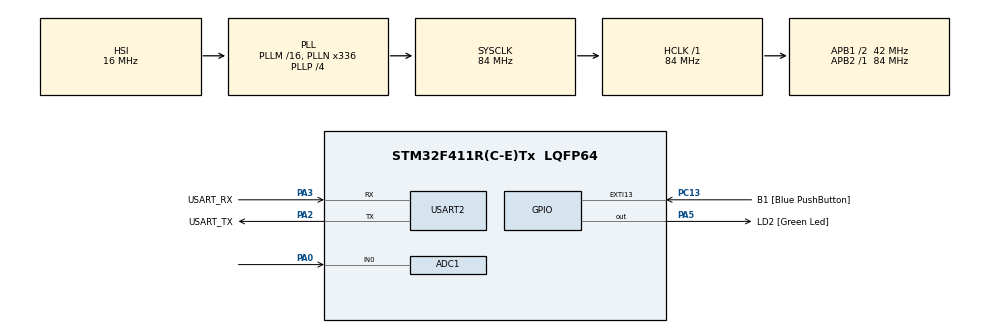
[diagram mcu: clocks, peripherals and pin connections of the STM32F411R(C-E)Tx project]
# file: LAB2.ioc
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ADC1.Channel-0\#ChannelRegularConversion=ADC_CHANNEL_0
ADC1.Channel-1\#ChannelRegularConversion=ADC_CHANNEL_TEMPSENSOR
ADC1.ContinuousConvMode=ENABLE
ADC1.DMAContinuousRequests=ENABLE
ADC1.NbrOfConversion=2
ADC1.NbrOfConversionFlag=1
ADC1.Rank-0\#ChannelRegularConversion=1
ADC1.Rank-1\#ChannelRegularConversion=2
ADC1.SamplingTime-0\#ChannelRegularConversion=ADC_SAMPLETIME_56CYCLES
ADC1.SamplingTime-1\#ChannelRegularConversion=ADC_SAMPLETIME_56CYCLES
ADC1.master=1
Dma.ADC1.0.Direction=DMA_PERIPH_TO_MEMORY
Dma.ADC1.0.FIFOMode=DMA_FIFOMODE_DISABLE
Dma.ADC1.0.Instance=DMA2_Stream0
Dma.ADC1.0.MemDataAlignment=DMA_MDATAALIGN_HALFWORD
Dma.ADC1.0.MemInc=DMA_MINC_ENABLE
Dma.ADC1.0.Mode=DMA_CIRCULAR
Dma.ADC1.0.PeriphDataAlignment=DMA_PDATAALIGN_HALFWORD
Dma.ADC1.0.PeriphInc=DMA_PINC_DISABLE
Dma.ADC1.0.Priority=DMA_PRIORITY_LOW
Dma.Request0=ADC1
Mcu.Family=STM32F4
Mcu.Name=STM32F411R(C-E)Tx
Mcu.Package=LQFP64
NVIC.ADC_IRQn=true\:0\:0\:false\:false\:true\:true\:true\:true
NVIC.DMA2_Stream0_IRQn=true\:0\:0\:false\:false\:true\:false\:true\:true
NVIC.PriorityGroup=NVIC_PRIORITYGROUP_0
PA0-WKUP.Signal=ADCx_IN0
PA13.GPIO_Label=TMS
PA13.Mode=Serial_Wire
PA13.Signal=SYS_JTMS-SWDIO
PA14.GPIO_Label=TCK
PA14.Mode=Serial_Wire
PA14.Signal=SYS_JTCK-SWCLK
PA2.GPIO_Label=USART_TX
PA2.Mode=Asynchronous
PA2.Signal=USART2_TX
PA3.GPIO_Label=USART_RX
PA3.Mode=Asynchronous
PA3.Signal=USART2_RX
PA5.GPIO_Label=LD2 [Green Led]
PA5.Signal=GPIO_Output
PB3.GPIO_Label=SWO
PB3.Signal=SYS_JTDO-SWO
PC13-ANTI_TAMP.GPIO_Label=B1 [Blue PushButton]
PC13-ANTI_TAMP.GPIO_ModeDefaultEXTI=GPIO_MODE_IT_FALLING
PC13-ANTI_TAMP.Signal=GPXTI13
PC14-OSC32_IN.Mode=LSE-External-Oscillator
PC14-OSC32_IN.Signal=RCC_OSC32_IN
PC15-OSC32_OUT.Mode=LSE-External-Oscillator
PC15-OSC32_OUT.Signal=RCC_OSC32_OUT
PH0\ -\ OSC_IN.Mode=HSE-External-Clock-Source
PH0\ -\ OSC_IN.Signal=RCC_OSC_IN
PH1\ -\ OSC_OUT.Mode=HSE-External-Clock-Source
PH1\ -\ OSC_OUT.Signal=RCC_OSC_OUT
ProjectManager.HeapSize=0x200
ProjectManager.StackSize=0x400
ProjectManager.TargetToolchain=STM32CubeIDE
RCC.48MHZClocksFreq_Value=84000000
RCC.AHBFreq_Value=84000000
RCC.APB1CLKDivider=RCC_HCLK_DIV2
RCC.APB1Freq_Value=42000000
RCC.APB1TimFreq_Value=84000000
RCC.APB2Freq_Value=84000000
RCC.APB2TimFreq_Value=84000000
RCC.CortexFreq_Value=84000000
RCC.FLatency-AdvancedSettings=FLASH_LATENCY_2
RCC.HCLKFreq_Value=84000000
RCC.HSE_VALUE=8000000
RCC.HSI_VALUE=16000000
RCC.PLLN=336
RCC.PLLP=RCC_PLLP_DIV4
RCC.SYSCLKFreq_VALUE=84000000
RCC.SYSCLKSource=RCC_SYSCLKSOURCE_PLLCLK
RCC.VCOOutputFreq_Value=336000000
SH.ADCx_IN0.0=ADC1_IN0,IN0
USART2.VirtualMode=VM_ASYNC
VP_ADC1_TempSens_Input.Mode=IN-TempSens
board=NUCLEO-F411RE

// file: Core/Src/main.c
/* USER CODE BEGIN Header */
/**
  ******************************************************************************
  * @file           : main.c
  * @brief          : Main program body
  ******************************************************************************
  * @attention
  *
  * Copyright (c) 2023 STMicroelectronics.
  * All rights reserved.
  *
  * This software is licensed under terms that can be found in the LICENSE file
  * in the root directory of this software component.
  * If no LICENSE file comes with this software, it is provided AS-IS.
  *
  ******************************************************************************
  */
/* USER CODE END Header */
#include "main.h"

/* USER CODE BEGIN Includes */

// จินตนา 64340500008
/* USER CODE END Includes */

/* USER CODE BEGIN PTD */
// จินตนา 64340500008
/* USER CODE END PTD */

ADC_HandleTypeDef hadc1;
DMA_HandleTypeDef hdma_adc1;

UART_HandleTypeDef huart2;

/* USER CODE BEGIN PV */

typedef struct Data
{
		uint16_t Vol;
		uint16_t Temp;
}data;
data buffer[10];

uint16_t av_vol ,av_temp ;
float Real_Vol;
float Real_Temp;
/* USER CODE END PV */

void SystemClock_Config(void);
static void MX_GPIO_Init(void);
static void MX_DMA_Init(void);
static void MX_USART2_UART_Init(void);
static void MX_ADC1_Init(void);

int main(void)
{

  /* MCU Configuration--------------------------------------------------------*/

  /* Reset of all peripherals, Initializes the Flash interface and the Systick. */
  HAL_Init();

  /* Configure the system clock */
  SystemClock_Config();

  /* Initialize all configured peripherals */
  MX_GPIO_Init();
  MX_DMA_Init();
  MX_USART2_UART_Init();
  MX_ADC1_Init();
  /* USER CODE BEGIN 2 */
  HAL_ADC_Start_DMA(&hadc1, (uint32_t*)buffer, 20);
  uint32_t sum_vol , sum_temp ;
  /* USER CODE END 2 */

  /* Infinite loop */
  while (1)
  {

    /* USER CODE BEGIN 3 */

		for (uint16_t i = 0; i < 10; i++)
		{
			if (i == 0) {
				sum_temp = 0;
				sum_vol = 0;
			} else if (i == 9) {
				sum_vol = sum_vol + buffer[i].Vol;
				sum_temp = sum_temp + buffer[i].Temp;
				av_vol = sum_vol /10;
				av_temp = sum_temp /10;

			} else {
				sum_vol = sum_vol + buffer[i].Vol;
				sum_temp = sum_temp + buffer[i].Temp;
			}

		}

		Real_Vol = ((av_vol*3.3/4095) *2) * 1000 ;
		//Real_Temp = ( ( Real_Vol - (0.76*1000) ) / 2.5 ) +25 ;
		Real_Temp = ((((av_temp*3.3/4095) - 0.76)/0.0025) + 25 )+273 ;

		HAL_Delay(1000) ;

  }
  /* USER CODE END 3 */
}

void SystemClock_Config(void)
{
  RCC_OscInitTypeDef RCC_OscInitStruct = {0};
  RCC_ClkInitTypeDef RCC_ClkInitStruct = {0};

  /** Configure the main internal regulator output voltage
  */
  __HAL_RCC_PWR_CLK_ENABLE();
  __HAL_PWR_VOLTAGESCALING_CONFIG(PWR_REGULATOR_VOLTAGE_SCALE1);

  /** Initializes the RCC Oscillators according to the specified parameters
  * in the RCC_OscInitTypeDef structure.
  */
  RCC_OscInitStruct.OscillatorType = RCC_OSCILLATORTYPE_HSI;
  RCC_OscInitStruct.HSIState = RCC_HSI_ON;
  RCC_OscInitStruct.HSICalibrationValue = RCC_HSICALIBRATION_DEFAULT;
  RCC_OscInitStruct.PLL.PLLState = RCC_PLL_ON;
  RCC_OscInitStruct.PLL.PLLSource = RCC_PLLSOURCE_HSI;
  RCC_OscInitStruct.PLL.PLLM = 16;
  RCC_OscInitStruct.PLL.PLLN = 336;
  RCC_OscInitStruct.PLL.PLLP = RCC_PLLP_DIV4;
  RCC_OscInitStruct.PLL.PLLQ = 4;
  if (HAL_RCC_OscConfig(&RCC_OscInitStruct) != HAL_OK)
  {
    Error_Handler();
  }

  /** Initializes the CPU, AHB and APB buses clocks
  */
  RCC_ClkInitStruct.ClockType = RCC_CLOCKTYPE_HCLK|RCC_CLOCKTYPE_SYSCLK
                              |RCC_CLOCKTYPE_PCLK1|RCC_CLOCKTYPE_PCLK2;
  RCC_ClkInitStruct.SYSCLKSource = RCC_SYSCLKSOURCE_PLLCLK;
  RCC_ClkInitStruct.AHBCLKDivider = RCC_SYSCLK_DIV1;
  RCC_ClkInitStruct.APB1CLKDivider = RCC_HCLK_DIV2;
  RCC_ClkInitStruct.APB2CLKDivider = RCC_HCLK_DIV1;

  if (HAL_RCC_ClockConfig(&RCC_ClkInitStruct, FLASH_LATENCY_2) != HAL_OK)
  {
    Error_Handler();
  }
}

static void MX_ADC1_Init(void)
{

  ADC_ChannelConfTypeDef sConfig = {0};

  /** Configure the global features of the ADC (Clock, Resolution, Data Alignment and number of conversion)
  */
  hadc1.Instance = ADC1;
  hadc1.Init.ClockPrescaler = ADC_CLOCK_SYNC_PCLK_DIV4;
  hadc1.Init.Resolution = ADC_RESOLUTION_12B;
  hadc1.Init.ScanConvMode = ENABLE;
  hadc1.Init.ContinuousConvMode = ENABLE;
  hadc1.Init.DiscontinuousConvMode = DISABLE;
  hadc1.Init.ExternalTrigConvEdge = ADC_EXTERNALTRIGCONVEDGE_NONE;
  hadc1.Init.ExternalTrigConv = ADC_SOFTWARE_START;
  hadc1.Init.DataAlign = ADC_DATAALIGN_RIGHT;
  hadc1.Init.NbrOfConversion = 2;
  hadc1.Init.DMAContinuousRequests = ENABLE;
  hadc1.Init.EOCSelection = ADC_EOC_SINGLE_CONV;
  if (HAL_ADC_Init(&hadc1) != HAL_OK)
  {
    Error_Handler();
  }

  /** Configure for the selected ADC regular channel its corresponding rank in the sequencer and its sample time.
  */
  sConfig.Channel = ADC_CHANNEL_0;
  sConfig.Rank = 1;
  sConfig.SamplingTime = ADC_SAMPLETIME_56CYCLES;
  if (HAL_ADC_ConfigChannel(&hadc1, &sConfig) != HAL_OK)
  {
    Error_Handler();
  }

  /** Configure for the selected ADC regular channel its corresponding rank in the sequencer and its sample time.
  */
  sConfig.Channel = ADC_CHANNEL_TEMPSENSOR;
  sConfig.Rank = 2;
  if (HAL_ADC_ConfigChannel(&hadc1, &sConfig) != HAL_OK)
  {
    Error_Handler();
  }

}

static void MX_USART2_UART_Init(void)
{

  huart2.Instance = USART2;
  huart2.Init.BaudRate = 115200;
  huart2.Init.WordLength = UART_WORDLENGTH_8B;
  huart2.Init.StopBits = UART_STOPBITS_1;
  huart2.Init.Parity = UART_PARITY_NONE;
  huart2.Init.Mode = UART_MODE_TX_RX;
  huart2.Init.HwFlowCtl = UART_HWCONTROL_NONE;
  huart2.Init.OverSampling = UART_OVERSAMPLING_16;
  if (HAL_UART_Init(&huart2) != HAL_OK)
  {
    Error_Handler();
  }

}

static void MX_DMA_Init(void)
{

  /* DMA controller clock enable */
  __HAL_RCC_DMA2_CLK_ENABLE();

  /* DMA interrupt init */
  /* DMA2_Stream0_IRQn interrupt configuration */
  HAL_NVIC_SetPriority(DMA2_Stream0_IRQn, 0, 0);
  HAL_NVIC_EnableIRQ(DMA2_Stream0_IRQn);

}

static void MX_GPIO_Init(void)
{
  GPIO_InitTypeDef GPIO_InitStruct = {0};

  /* GPIO Ports Clock Enable */
  __HAL_RCC_GPIOC_CLK_ENABLE();
  __HAL_RCC_GPIOH_CLK_ENABLE();
  __HAL_RCC_GPIOA_CLK_ENABLE();
  __HAL_RCC_GPIOB_CLK_ENABLE();

  /*Configure GPIO pin Output Level */
  HAL_GPIO_WritePin(LD2_GPIO_Port, LD2_Pin, GPIO_PIN_RESET);

  /*Configure GPIO pin : B1_Pin */
  GPIO_InitStruct.Pin = B1_Pin;
  GPIO_InitStruct.Mode = GPIO_MODE_IT_FALLING;
  GPIO_InitStruct.Pull = GPIO_NOPULL;
  HAL_GPIO_Init(B1_GPIO_Port, &GPIO_InitStruct);

  /*Configure GPIO pin : LD2_Pin */
  GPIO_InitStruct.Pin = LD2_Pin;
  GPIO_InitStruct.Mode = GPIO_MODE_OUTPUT_PP;
  GPIO_InitStruct.Pull = GPIO_NOPULL;
  GPIO_InitStruct.Speed = GPIO_SPEED_FREQ_LOW;
  HAL_GPIO_Init(LD2_GPIO_Port, &GPIO_InitStruct);

}

/* USER CODE BEGIN 4 */
void HAL_GPIO_EXTI_Callback(uint16_t GPIO_Pin)
{
	HAL_ADC_Start_DMA(&hadc1, (uint32_t*)buffer, 20);
}
void HAL_ADC_ConvCpltCallback(ADC_HandleTypeDef* hadc)
{

}
/* USER CODE END 4 */

void Error_Handler(void)
{
  __disable_irq();
  while (1)
  {
  }
}
